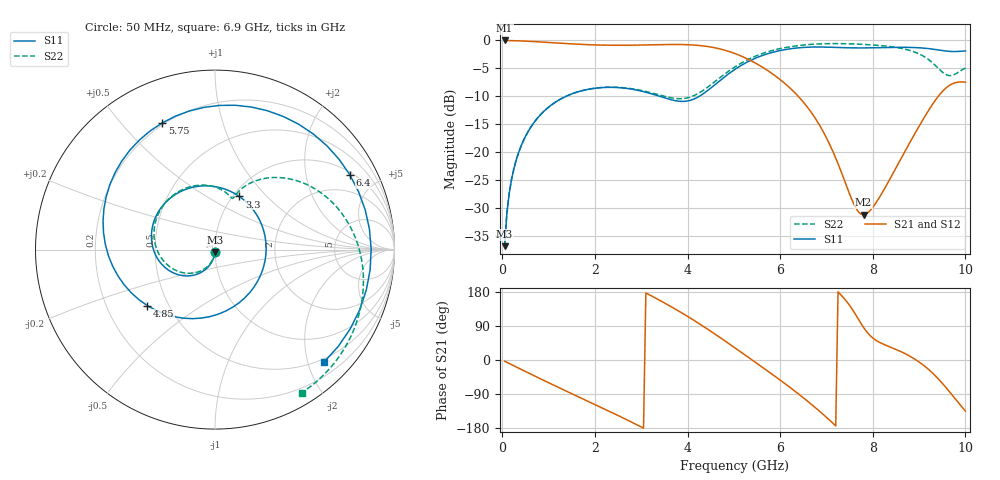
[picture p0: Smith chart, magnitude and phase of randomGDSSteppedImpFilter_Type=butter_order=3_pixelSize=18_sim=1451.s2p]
! freq	dB(S11)	phase(S11)	dB(S12)	phase(S12)
!  dB(S21)	phase(S21)	dB(S22)	phase(S22)
!S-par simulation data
#  GHz  S  DB  R 50
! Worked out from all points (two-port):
!   200 points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, 50 MHz to 10 GHz, reference 50 ohm
!   highest |S21| = -0.01 dB at 50 MHz (marker M1); lowest = -31.2 dB at 7.8 GHz (marker M2)
!   |S21| within 3 dB of the highest: start of sweep to 5.215 GHz
!   lowest |S11| = -36.8 dB at 50 MHz (marker M3), VSWR 1.03, Z = 49.9 - j1.44 ohm
!   |S11| at or under -10 dB: start of sweep to 1.376 GHz; 3.397 GHz to 4.253 GHz (855.7 MHz wide, 22.4 % of centre)
!   |S22| runs from -36.8 to -0.6 dB; largest |S21 - S12| = 0
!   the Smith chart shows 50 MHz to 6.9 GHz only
!   S11 on the Smith chart (normalised r, x): 50 MHz: 1.00, -0.03; 3.3 GHz: 1.07, +0.71; 4.85 GHz: 0.38, -0.31; 5.75 GHz: 0.19, +0.65; 6.4 GHz: 1.11, +3.54; 6.9 GHz: 0.43, -2.28
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0.05  -36.79 -92.6  -0.01 -3.1  -0.01 -3.1  -36.80 -93.0
0.2  -24.85 -101.6  -0.03 -12.2  -0.03 -12.2  -24.85 -103.1
0.5  -17.17 -119.0  -0.13 -30.4  -0.13 -30.4  -17.18 -122.7
1.75  -8.93 171.3  -0.73 -103.2  -0.73 -103.2  -8.92 161.1
2.6  -8.50 120.3  -0.87 -152.4  -0.87 -152.4  -8.45 114.1
3.3  -9.75 65.4  -0.77 164.1  -0.77 164.1  -9.56 82.8
3.4  -10.01 55.5  -0.75 157.5  -0.75 157.5  -9.78 79.6
4.2  -10.24 -50.6  -0.87 99.9  -0.87 99.9  -9.63 69.1
4.85  -6.21 -140.4  -1.86 46.8  -1.86 46.8  -5.73 51.0
5.05  -5.03 -164.8  -2.43 29.8  -2.43 29.8  -4.60 41.2
5.75  -2.33 112.6  -5.49 -30.8  -5.49 -30.8  -1.98 2.1
6.1  -1.65 69.3  -7.69 -62.0  -7.69 -62.0  -1.30 -17.3
6.4  -1.32 29.0  -10.08 -90.0  -10.08 -90.0  -0.92 -33.3
6.7  -1.18 -14.9  -13.20 -119.6  -13.20 -119.6  -0.69 -48.7
6.9  -1.18 -46.1  -15.86 -140.4  -15.86 -140.4  -0.60 -58.8
7.3  -1.28 -109.9  -23.10 173.5  -23.10 173.5  -0.57 -78.4
7.8  -1.34 177.1  -31.17 86.1  -31.17 86.1  -0.71 -103.2
8.35  -1.26 113.2  -25.09 35.6  -25.09 35.6  -1.08 -134.0
8.95  -1.29 59.9  -16.07 -1.1  -16.07 -1.1  -2.22 176.1
9.4  -1.68 28.7  -10.15 -47.7  -10.15 -47.7  -4.86 100.2
9.7  -1.98 13.5  -7.83 -90.5  -7.83 -90.5  -6.27 8.9
10  -1.88 0.7  -7.46 -134.8  -7.46 -134.8  -4.95 -80.5
